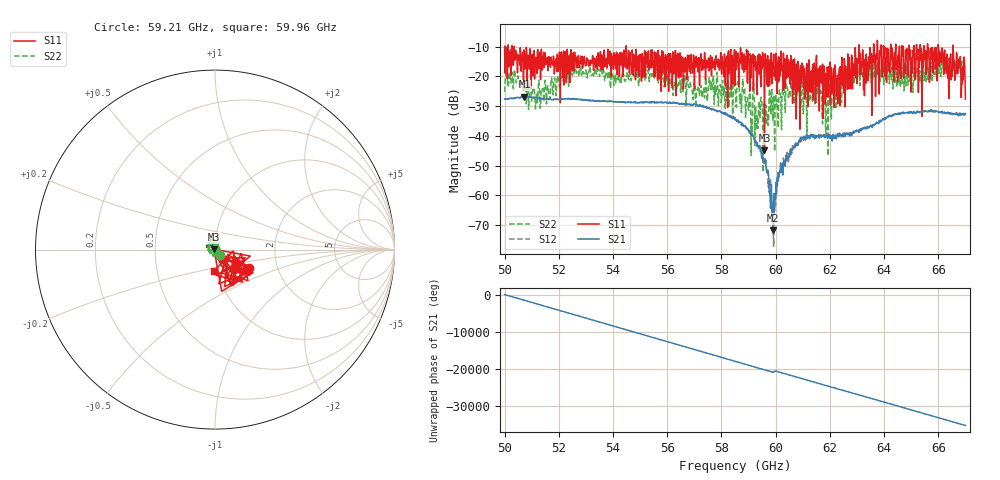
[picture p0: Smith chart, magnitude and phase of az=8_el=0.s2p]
!Created with skrf (http://scikit-rf.org).
# GHz S RI R 50.0
!freq ReS11 ImS11 ReS21 ImS21 ReS12 ImS12 ReS22 ImS22
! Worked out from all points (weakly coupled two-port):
!   1001 points, 50 GHz to 67 GHz, reference 50 ohm
!   highest |S21| = -26.81 dB at 50.73 GHz (marker M1); lowest = -71.7 dB at 59.89 GHz (marker M2)
!   lowest |S11| = -44.9 dB at 59.59 GHz (marker M3), VSWR 1.01, Z = 49.5 + j0.234 ohm
!   |S11| at or under -10 dB: 50.36 GHz to 54.49 GHz (4.129 GHz wide, 7.88 % of centre); 54.49 GHz to 63.07 GHz (8.582 GHz wide, 14.6 % of centre); 63.08 GHz to 63.61 GHz (537.3 MHz wide, 0.848 % of centre) (the widest 3 of 23)
!   |S22| runs from -52.2 to -13.8 dB; largest |S21 - S12| = 0.002
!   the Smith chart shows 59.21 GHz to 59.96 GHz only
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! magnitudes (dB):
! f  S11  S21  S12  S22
! 50 GHz  -9.8  -27.6  -27.6  -25.2
! 50.42 GHz  -13.8  -27.2  -27.3  -22.0
! 50.73 GHz  -11.6  -26.8  -26.9  -23.1
! 51.38 GHz  -16.7  -27.4  -27.5  -24.9
! 52.84 GHz  -14.0  -27.7  -27.7  -19.5
! 55.68 GHz  -13.3  -28.7  -28.6  -22.2
! 57 GHz  -24.1  -29.3  -29.5  -21.7
! 57.62 GHz  -15.5  -31.1  -30.9  -21.9
! 58.5 GHz  -23.0  -34.5  -33.7  -24.1
! 59.59 GHz  -44.9  -48.1  -49.4  -29.3
! 59.89 GHz  -17.5  -71.7  -65.8  -35.0
! 60.35 GHz  -23.9  -50.2  -48.8  -32.1
! 61.34 GHz  -24.9  -39.9  -39.9  -25.8
! 61.88 GHz  -26.7  -40.0  -39.9  -23.4
! 62.55 GHz  -14.8  -39.5  -39.0  -19.5
! 63.01 GHz  -22.4  -38.4  -38.3  -19.9
! 63.33 GHz  -22.3  -37.2  -37.1  -19.3
! 64.18 GHz  -17.9  -33.4  -33.4  -18.7
! 66.08 GHz  -15.0  -32.0  -32.0  -15.7
! 66.42 GHz  -15.4  -32.3  -32.4  -16.3
! 66.75 GHz  -17.3  -32.6  -33.2  -18.5
! 67 GHz  -27.6  -32.5  -33.0  -15.7
